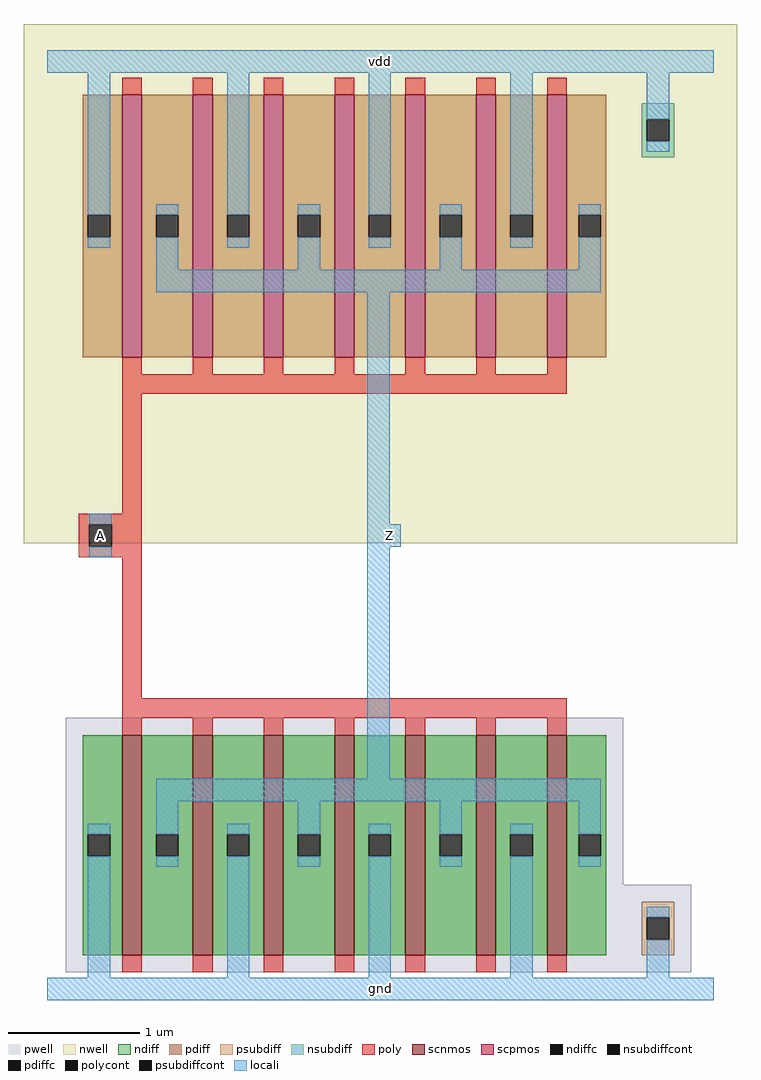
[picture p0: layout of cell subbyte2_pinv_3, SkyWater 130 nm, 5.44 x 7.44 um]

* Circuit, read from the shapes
.subckt subbyte2_pinv_3 A Z gnd vdd
XM1 Z A gnd gnd sky130_fd_pr__nfet_01v8 w=1.68 l=0.15 m=7
XM2 Z A vdd vdd sky130_fd_pr__pfet_01v8 w=2 l=0.15 m=7
.ends

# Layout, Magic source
magic
tech sky130A
magscale 1 2
<< nwell >>
rect -36 679 1052 1471
<< pwell >>
rect 28 159 878 413
rect 28 25 982 159
<< scnmos >>
rect 114 51 144 387
rect 222 51 252 387
rect 330 51 360 387
rect 438 51 468 387
rect 546 51 576 387
rect 654 51 684 387
rect 762 51 792 387
<< scpmos >>
rect 114 963 144 1363
rect 222 963 252 1363
rect 330 963 360 1363
rect 438 963 468 1363
rect 546 963 576 1363
rect 654 963 684 1363
rect 762 963 792 1363
<< ndiff >>
rect 54 236 114 387
rect 54 202 62 236
rect 96 202 114 236
rect 54 51 114 202
rect 144 236 222 387
rect 144 202 166 236
rect 200 202 222 236
rect 144 51 222 202
rect 252 236 330 387
rect 252 202 274 236
rect 308 202 330 236
rect 252 51 330 202
rect 360 236 438 387
rect 360 202 382 236
rect 416 202 438 236
rect 360 51 438 202
rect 468 236 546 387
rect 468 202 490 236
rect 524 202 546 236
rect 468 51 546 202
rect 576 236 654 387
rect 576 202 598 236
rect 632 202 654 236
rect 576 51 654 202
rect 684 236 762 387
rect 684 202 706 236
rect 740 202 762 236
rect 684 51 762 202
rect 792 236 852 387
rect 792 202 810 236
rect 844 202 852 236
rect 792 51 852 202
<< pdiff >>
rect 54 1180 114 1363
rect 54 1146 62 1180
rect 96 1146 114 1180
rect 54 963 114 1146
rect 144 1180 222 1363
rect 144 1146 166 1180
rect 200 1146 222 1180
rect 144 963 222 1146
rect 252 1180 330 1363
rect 252 1146 274 1180
rect 308 1146 330 1180
rect 252 963 330 1146
rect 360 1180 438 1363
rect 360 1146 382 1180
rect 416 1146 438 1180
rect 360 963 438 1146
rect 468 1180 546 1363
rect 468 1146 490 1180
rect 524 1146 546 1180
rect 468 963 546 1146
rect 576 1180 654 1363
rect 576 1146 598 1180
rect 632 1146 654 1180
rect 576 963 654 1146
rect 684 1180 762 1363
rect 684 1146 706 1180
rect 740 1146 762 1180
rect 684 963 762 1146
rect 792 1180 852 1363
rect 792 1146 810 1180
rect 844 1146 852 1180
rect 792 963 852 1146
<< ndiffc >>
rect 62 202 96 236
rect 166 202 200 236
rect 274 202 308 236
rect 382 202 416 236
rect 490 202 524 236
rect 598 202 632 236
rect 706 202 740 236
rect 810 202 844 236
<< pdiffc >>
rect 62 1146 96 1180
rect 166 1146 200 1180
rect 274 1146 308 1180
rect 382 1146 416 1180
rect 490 1146 524 1180
rect 598 1146 632 1180
rect 706 1146 740 1180
rect 810 1146 844 1180
<< psubdiff >>
rect 906 109 956 133
rect 906 75 914 109
rect 948 75 956 109
rect 906 51 956 75
<< nsubdiff >>
rect 906 1326 956 1350
rect 906 1292 914 1326
rect 948 1292 956 1326
rect 906 1268 956 1292
<< psubdiffcont >>
rect 914 75 948 109
<< nsubdiffcont >>
rect 914 1292 948 1326
<< poly >>
rect 114 1363 144 1389
rect 222 1363 252 1389
rect 330 1363 360 1389
rect 438 1363 468 1389
rect 546 1363 576 1389
rect 654 1363 684 1389
rect 762 1363 792 1389
rect 114 937 144 963
rect 222 937 252 963
rect 330 937 360 963
rect 438 937 468 963
rect 546 937 576 963
rect 654 937 684 963
rect 762 937 792 963
rect 114 907 792 937
rect 114 724 144 907
rect 48 708 144 724
rect 48 674 64 708
rect 98 674 144 708
rect 48 658 144 674
rect 114 443 144 658
rect 114 413 792 443
rect 114 387 144 413
rect 222 387 252 413
rect 330 387 360 413
rect 438 387 468 413
rect 546 387 576 413
rect 654 387 684 413
rect 762 387 792 413
rect 114 25 144 51
rect 222 25 252 51
rect 330 25 360 51
rect 438 25 468 51
rect 546 25 576 51
rect 654 25 684 51
rect 762 25 792 51
<< polycont >>
rect 64 674 98 708
<< locali >>
rect 0 1397 1016 1431
rect 62 1180 96 1397
rect 62 1130 96 1146
rect 166 1180 200 1196
rect 166 1096 200 1146
rect 274 1180 308 1397
rect 274 1130 308 1146
rect 382 1180 416 1196
rect 382 1096 416 1146
rect 490 1180 524 1397
rect 490 1130 524 1146
rect 598 1180 632 1196
rect 598 1096 632 1146
rect 706 1180 740 1397
rect 914 1326 948 1397
rect 914 1276 948 1292
rect 706 1130 740 1146
rect 810 1180 844 1196
rect 810 1096 844 1146
rect 166 1062 844 1096
rect 64 708 98 724
rect 64 658 98 674
rect 488 708 522 1062
rect 488 674 539 708
rect 488 320 522 674
rect 166 286 844 320
rect 62 236 96 252
rect 62 17 96 202
rect 166 236 200 286
rect 166 186 200 202
rect 274 236 308 252
rect 274 17 308 202
rect 382 236 416 286
rect 382 186 416 202
rect 490 236 524 252
rect 490 17 524 202
rect 598 236 632 286
rect 598 186 632 202
rect 706 236 740 252
rect 706 17 740 202
rect 810 236 844 286
rect 810 186 844 202
rect 914 109 948 125
rect 914 17 948 75
rect 0 -17 1016 17
<< labels >>
rlabel locali s 81 691 81 691 4 A
port 1 nsew
rlabel locali s 522 691 522 691 4 Z
port 2 nsew
rlabel locali s 508 0 508 0 4 gnd
port 3 nsew
rlabel locali s 508 1414 508 1414 4 vdd
port 4 nsew
<< properties >>
string FIXED_BBOX 0 0 1016 1079
<< end >>
